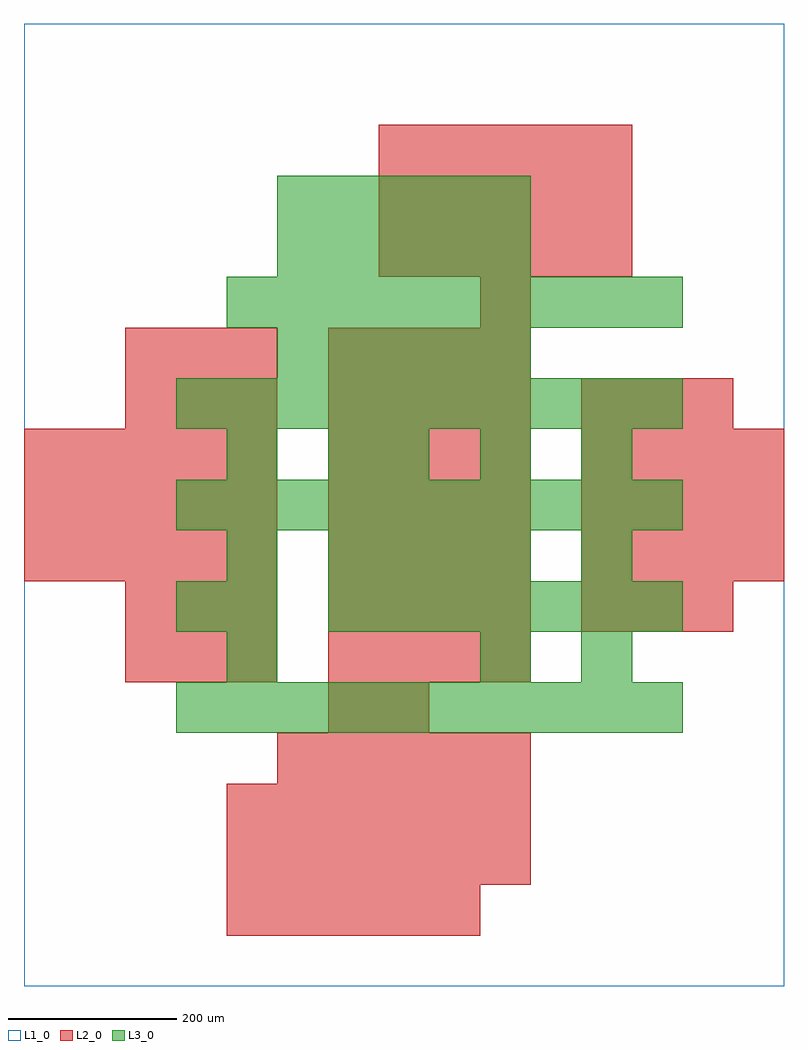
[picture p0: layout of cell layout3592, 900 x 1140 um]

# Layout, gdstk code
import gdstk
lib = gdstk.Library(unit=1e-6, precision=1e-09)
def R(c, l, rs):  # rectangles x0, y0, x1, y1
    for r in rs: c.add(gdstk.rectangle(r[:2], r[2:], *l))
def A(c, l, x, y, w, h, nx, ny, dx, dy):  # array of equal rectangles
    R(c, l, [(x+i*dx, y+j*dy, x+i*dx+w, y+j*dy+h) for i in range(nx) for j in range(ny)])
L1_0 = (1, 0)
L2_0 = (2, 0)
L3_0 = (3, 0)

layout3592 = lib.new_cell('layout3592')
R(layout3592, L1_0, [(0,0,900,1140)])
A(layout3592, L2_0, 240, 60, 60, 60, 5, 1, 60, 0)
A(layout3592, L2_0, 240, 120, 60, 60, 6, 2, 60, 60)
A(layout3592, L2_0, 300, 240, 60, 60, 5, 1, 60, 0)
A(layout3592, L2_0, 120, 360, 60, 60, 3, 2, 60, 60)
A(layout3592, L2_0, 360, 360, 60, 60, 4, 7, 60, 60)
A(layout3592, L2_0, 660, 420, 60, 60, 3, 2, 60, 240)
A(layout3592, L2_0, 0, 480, 60, 60, 5, 3, 60, 60)
A(layout3592, L2_0, 660, 480, 60, 60, 4, 3, 60, 60)
A(layout3592, L2_0, 120, 660, 60, 60, 3, 2, 60, 60)
A(layout3592, L2_0, 420, 840, 60, 60, 5, 3, 60, 60)
R(layout3592, L2_0, [(360,300,420,360), (420,300,480,360), (540,780,600,840)])
A(layout3592, L3_0, 180, 300, 60, 60, 10, 2, 60, 240)
A(layout3592, L3_0, 240, 360, 60, 60, 1, 3, 0, 60)
A(layout3592, L3_0, 360, 420, 60, 60, 7, 1, 60, 0)
A(layout3592, L3_0, 360, 480, 60, 60, 4, 1, 60, 0)
A(layout3592, L3_0, 420, 600, 60, 60, 3, 1, 120, 0)
A(layout3592, L3_0, 180, 660, 60, 60, 10, 1, 60, 0)
A(layout3592, L3_0, 300, 720, 60, 60, 5, 2, 60, 120)
A(layout3592, L3_0, 240, 780, 60, 60, 9, 1, 60, 0)
A(layout3592, L3_0, 300, 900, 60, 60, 5, 1, 60, 0)
R(layout3592, L3_0, [(540,360,600,420), (660,360,720,420), (180,420,240,480), (660,480,720,540), (240,600,300,660), (360,600,420,660)])

lib.write_gds('layout3592.gds')
